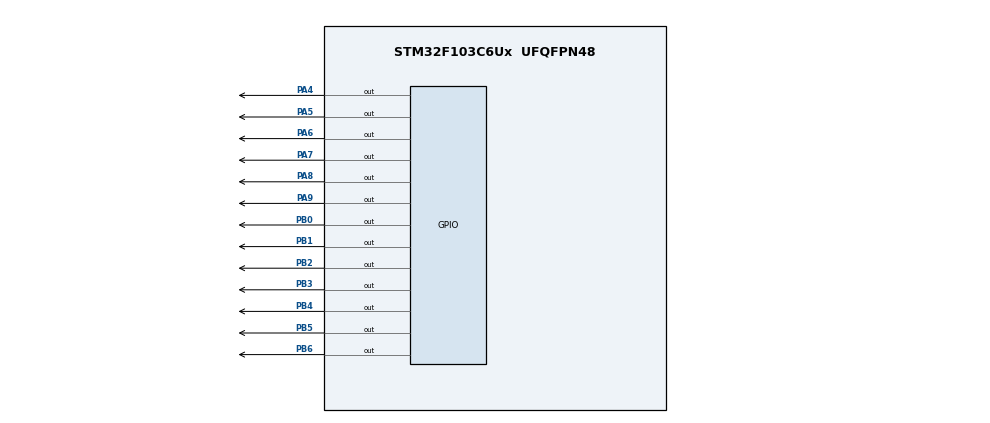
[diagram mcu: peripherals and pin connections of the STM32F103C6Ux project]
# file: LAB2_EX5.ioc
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Mcu.Family=STM32F1
Mcu.Name=STM32F103C6Ux
Mcu.Package=UFQFPN48
NVIC.PriorityGroup=NVIC_PRIORITYGROUP_4
NVIC.TIM2_IRQn=true\:0\:0\:false\:false\:true\:true\:true
PA4.Signal=GPIO_Output
PA5.Signal=GPIO_Output
PA6.Signal=GPIO_Output
PA7.Signal=GPIO_Output
PA8.Signal=GPIO_Output
PA9.Signal=GPIO_Output
PB0.Signal=GPIO_Output
PB1.Signal=GPIO_Output
PB2.Signal=GPIO_Output
PB3.Signal=GPIO_Output
PB4.Signal=GPIO_Output
PB5.Signal=GPIO_Output
PB6.Signal=GPIO_Output
ProjectManager.HeapSize=0x200
ProjectManager.StackSize=0x400
ProjectManager.TargetToolchain=STM32CubeIDE
RCC.APB1Freq_Value=8000000
RCC.APB2Freq_Value=8000000
TIM2.Period=9
TIM2.Prescaler=7999
VP_SYS_VS_ND.Mode=No_Debug
VP_TIM2_VS_ClockSourceINT.Mode=Internal
board=custom

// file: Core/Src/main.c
/* USER CODE BEGIN Header */
/**
  ******************************************************************************
  * @file           : main.c
  * @brief          : LAB 2 - EX5 - Digital Clock
  ******************************************************************************
  */
/* USER CODE END Header */

#include "main.h"

TIM_HandleTypeDef htim2;

volatile int hour   = 15;
volatile int minute = 8;
volatile int second = 50;

volatile int led_buffer[4] = {1, 5, 0, 8};

const uint8_t seg7_code[10] =
{
    0xC0,   // 0
    0xF9,   // 1
    0xA4,   // 2
    0xB0,   // 3
    0x99,   // 4
    0x92,   // 5
    0x82,   // 6
    0xF8,   // 7
    0x80,   // 8
    0x90    // 9
};

/* USER CODE END PV */

void SystemClock_Config(void);
static void MX_GPIO_Init(void);
static void MX_TIM2_Init(void);

/* USER CODE BEGIN PFP */

void display7SEG(int num);
void clearLed(void);
void update7SEG(int index);
void updateClockBuffer(void);

/* USER CODE END PFP */

/* USER CODE BEGIN 0 */

void display7SEG(int num)
{
    uint8_t data;

    if (num < 0 || num > 9)
    {
        return;
    }

    data = seg7_code[num];

    HAL_GPIO_WritePin(GPIOB, GPIO_PIN_0,
                      (data & 0x01) ? GPIO_PIN_SET : GPIO_PIN_RESET);

    HAL_GPIO_WritePin(GPIOB, GPIO_PIN_1,
                      (data & 0x02) ? GPIO_PIN_SET : GPIO_PIN_RESET);

    HAL_GPIO_WritePin(GPIOB, GPIO_PIN_2,
                      (data & 0x04) ? GPIO_PIN_SET : GPIO_PIN_RESET);

    HAL_GPIO_WritePin(GPIOB, GPIO_PIN_3,
                      (data & 0x08) ? GPIO_PIN_SET : GPIO_PIN_RESET);

    HAL_GPIO_WritePin(GPIOB, GPIO_PIN_4,
                      (data & 0x10) ? GPIO_PIN_SET : GPIO_PIN_RESET);

    HAL_GPIO_WritePin(GPIOB, GPIO_PIN_5,
                      (data & 0x20) ? GPIO_PIN_SET : GPIO_PIN_RESET);

    HAL_GPIO_WritePin(GPIOB, GPIO_PIN_6,
                      (data & 0x40) ? GPIO_PIN_SET : GPIO_PIN_RESET);
}

void clearLed(void)
{
    HAL_GPIO_WritePin(GPIOA,
                      GPIO_PIN_6 |
                      GPIO_PIN_7 |
                      GPIO_PIN_8 |
                      GPIO_PIN_9,
                      GPIO_PIN_SET);
}

/* =========================================================
 * QUET LED
 *
 * index 0 -> PA6 -> LED1 -> so 1
 * index 1 -> PA7 -> LED2 -> so 5
 * index 2 -> PA8 -> LED3 -> so 0
 * index 3 -> PA9 -> LED4 -> so 8
 * ========================================================= */
void update7SEG(int index)
{
    if (index < 0 || index > 3)
    {
        return;
    }

    clearLed();

    display7SEG(led_buffer[index]);

    switch(index)
    {
        case 0:
            /* LED1 */
            HAL_GPIO_WritePin(GPIOA,
                              GPIO_PIN_6,
                              GPIO_PIN_RESET);
            break;

        case 1:
            /* LED2 */
            HAL_GPIO_WritePin(GPIOA,
                              GPIO_PIN_7,
                              GPIO_PIN_RESET);
            break;

        case 2:
            /* LED3 */
            HAL_GPIO_WritePin(GPIOA,
                              GPIO_PIN_8,
                              GPIO_PIN_RESET);
            break;

        case 3:
            /* LED4 */
            HAL_GPIO_WritePin(GPIOA,
                              GPIO_PIN_9,
                              GPIO_PIN_RESET);
            break;

        default:
            break;
    }
}

void updateClockBuffer(void)
{
    led_buffer[0] = hour / 10;
    led_buffer[1] = hour % 10;
    led_buffer[2] = minute / 10;
    led_buffer[3] = minute % 10;
}

/* USER CODE END 0 */

int main(void)
{
    /* MCU Configuration--------------------------------------------------------*/

    HAL_Init();

    /* Configure the system clock */
    SystemClock_Config();

    /* Initialize all configured peripherals */
    MX_GPIO_Init();
    MX_TIM2_Init();

    /* USER CODE BEGIN 2 */

    updateClockBuffer();

    HAL_TIM_Base_Start_IT(&htim2);

    /* USER CODE END 2 */

    /* Infinite loop */
    while (1)
    {
        HAL_Delay(1000);

        second++;

        if (second >= 60)
        {
            second = 0;
            minute++;
        }

        if (minute >= 60)
        {
            minute = 0;
            hour++;
        }

        if (hour >= 24)
        {
            hour = 0;
        }

        updateClockBuffer();
    }
}

void SystemClock_Config(void)
{
    RCC_OscInitTypeDef RCC_OscInitStruct = {0};
    RCC_ClkInitTypeDef RCC_ClkInitStruct = {0};

    /* HSI = 8 MHz */
    RCC_OscInitStruct.OscillatorType = RCC_OSCILLATORTYPE_HSI;
    RCC_OscInitStruct.HSIState = RCC_HSI_ON;
    RCC_OscInitStruct.HSICalibrationValue =
        RCC_HSICALIBRATION_DEFAULT;
    RCC_OscInitStruct.PLL.PLLState = RCC_PLL_NONE;

    if (HAL_RCC_OscConfig(&RCC_OscInitStruct) != HAL_OK)
    {
        Error_Handler();
    }

    RCC_ClkInitStruct.ClockType =
        RCC_CLOCKTYPE_HCLK |
        RCC_CLOCKTYPE_SYSCLK |
        RCC_CLOCKTYPE_PCLK1 |
        RCC_CLOCKTYPE_PCLK2;

    RCC_ClkInitStruct.SYSCLKSource = RCC_SYSCLKSOURCE_HSI;
    RCC_ClkInitStruct.AHBCLKDivider = RCC_SYSCLK_DIV1;
    RCC_ClkInitStruct.APB1CLKDivider = RCC_HCLK_DIV1;
    RCC_ClkInitStruct.APB2CLKDivider = RCC_HCLK_DIV1;

    if (HAL_RCC_ClockConfig(&RCC_ClkInitStruct,
                            FLASH_LATENCY_0) != HAL_OK)
    {
        Error_Handler();
    }
}

static void MX_TIM2_Init(void)
{
    TIM_ClockConfigTypeDef sClockSourceConfig = {0};
    TIM_MasterConfigTypeDef sMasterConfig = {0};

    htim2.Instance = TIM2;

    /* =====================================================
     * HSI = 8 MHz
     *
     * 8,000,000 / (7999 + 1) = 1000 Hz
     *
     * 1000 / (9 + 1) = 100 Hz
     *
     * => 10 ms / interrupt
     * ===================================================== */
    htim2.Init.Prescaler = 7999;

    htim2.Init.CounterMode = TIM_COUNTERMODE_UP;

    htim2.Init.Period = 9;

    htim2.Init.ClockDivision = TIM_CLOCKDIVISION_DIV1;

    htim2.Init.AutoReloadPreload =
        TIM_AUTORELOAD_PRELOAD_DISABLE;

    if (HAL_TIM_Base_Init(&htim2) != HAL_OK)
    {
        Error_Handler();
    }

    sClockSourceConfig.ClockSource =
        TIM_CLOCKSOURCE_INTERNAL;

    if (HAL_TIM_ConfigClockSource(&htim2,
                                  &sClockSourceConfig) != HAL_OK)
    {
        Error_Handler();
    }

    sMasterConfig.MasterOutputTrigger =
        TIM_TRGO_RESET;

    sMasterConfig.MasterSlaveMode =
        TIM_MASTERSLAVEMODE_DISABLE;

    if (HAL_TIMEx_MasterConfigSynchronization(
            &htim2,
            &sMasterConfig) != HAL_OK)
    {
        Error_Handler();
    }
}

static void MX_GPIO_Init(void)
{
    GPIO_InitTypeDef GPIO_InitStruct = {0};

    /* Enable GPIO clocks */
    __HAL_RCC_GPIOA_CLK_ENABLE();
    __HAL_RCC_GPIOB_CLK_ENABLE();

    HAL_GPIO_WritePin(GPIOA,
                      GPIO_PIN_4 |
                      GPIO_PIN_5 |
                      GPIO_PIN_6 |
                      GPIO_PIN_7 |
                      GPIO_PIN_8 |
                      GPIO_PIN_9,
                      GPIO_PIN_SET);

    HAL_GPIO_WritePin(GPIOB,
                      GPIO_PIN_0 |
                      GPIO_PIN_1 |
                      GPIO_PIN_2 |
                      GPIO_PIN_3 |
                      GPIO_PIN_4 |
                      GPIO_PIN_5 |
                      GPIO_PIN_6,
                      GPIO_PIN_SET);

    GPIO_InitStruct.Pin =
        GPIO_PIN_4 |
        GPIO_PIN_5 |
        GPIO_PIN_6 |
        GPIO_PIN_7 |
        GPIO_PIN_8 |
        GPIO_PIN_9;

    GPIO_InitStruct.Mode =
        GPIO_MODE_OUTPUT_PP;

    GPIO_InitStruct.Pull =
        GPIO_NOPULL;

    GPIO_InitStruct.Speed =
        GPIO_SPEED_FREQ_LOW;

    HAL_GPIO_Init(GPIOA, &GPIO_InitStruct);

    GPIO_InitStruct.Pin =
        GPIO_PIN_0 |
        GPIO_PIN_1 |
        GPIO_PIN_2 |
        GPIO_PIN_3 |
        GPIO_PIN_4 |
        GPIO_PIN_5 |
        GPIO_PIN_6;

    GPIO_InitStruct.Mode =
        GPIO_MODE_OUTPUT_PP;

    GPIO_InitStruct.Pull =
        GPIO_NOPULL;

    GPIO_InitStruct.Speed =
        GPIO_SPEED_FREQ_LOW;

    HAL_GPIO_Init(GPIOB, &GPIO_InitStruct);
}

/* USER CODE BEGIN 4 */

/**
  * @brief TIM2 Period Elapsed Callback
  *

  */
void HAL_TIM_PeriodElapsedCallback(TIM_HandleTypeDef *htim)
{
    static uint8_t index_led = 0;

    if (htim->Instance == TIM2)
    {
        update7SEG(index_led);

        index_led++;

        if (index_led >= 4)
        {
            index_led = 0;
        }
    }
}

/* USER CODE END 4 */

void Error_Handler(void)
{
    __disable_irq();

    while (1)
    {
    }
}

/************************ (C) COPYRIGHT STMicroelectronics *****END OF FILE****/
